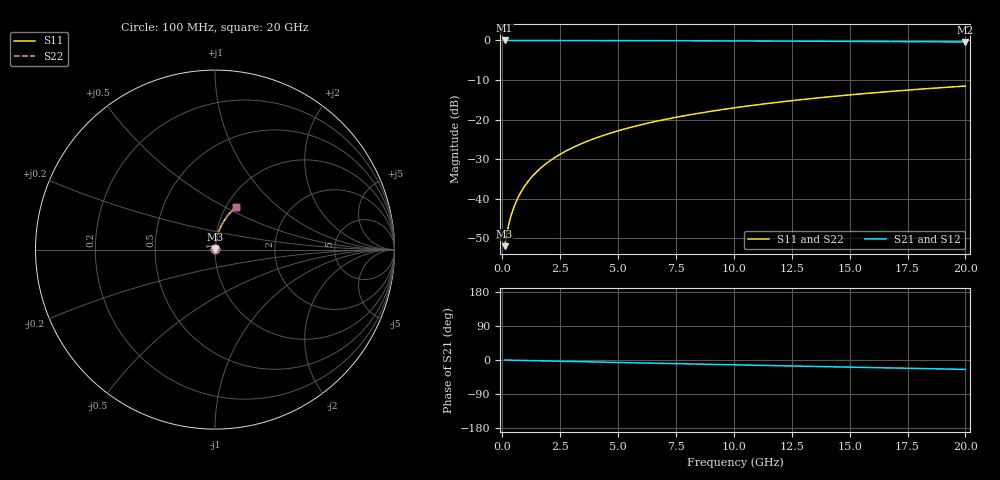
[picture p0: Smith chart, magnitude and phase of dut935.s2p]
! Touchstone file exported from HFSS 2026.1.0
!  File:  C:/ffzhzh/LocalFiles/Ansys_Project_Files/temp_train_TMRDL_935_1783158425_51560.aedt
!  Generated:  05:48:18 PM Jul  4, 2026
!  Design:  TMRDL
!  Project:  temp_train_TMRDL_935_1783158425_51560
! Variables:
!  h_bsmrdl = 2um
!  h_ox = 20um
!  h_rdl = 5um
!  h_sub = 80um
!  h_tmrdl = 3.86um
!  h_tsv = 80um
!  h_via = 3um
!  l_bsmrdl = 300um
!  l_sub = 718.84um
!  l_tmrdl = 318.84um
!  m_sub = 200um
!  pitch = 43um
!  r_tsv = 6um
!  s_tmrdl = 10um
!  w_bsmrdl = 18um
!  w_sub = 500um
!  w_tmrdl = 15.91um
!  x_tsv_center1 = 326.795um
!  x_tsv_center2 = 644.795um
!  x_tsv_center3 = 979.545um
!  x_tsv_center4 = 1297.545um
!  x_tsv_center5 = 1632.295um
!  x_tsv_center6 = 1950.295um
# GHz S MA R 50.000000
! Terminal data exported
! Port[1] = TM_RDL1_1_T1
! Port[2] = TM_RDL1_1_T2
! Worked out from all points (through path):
!   200 points, 100 MHz to 20 GHz, reference 50 ohm
!   highest |S21| = -0.02 dB at 100 MHz (marker M1); lowest = -0.4 dB at 20 GHz (marker M2)
!   group delay of S21, straight-line fit = 3.44 ps
!   lowest |S11| = -52.0 dB at 100 MHz (marker M3), VSWR 1.01, Z = 50.2 + j0.156 ohm
!   |S11| at or under -10 dB: start of sweep to end of sweep
!   |S22| runs from -52.0 to -11.5 dB; largest |S21 - S12| = 4.4e-15
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0.1  0.002525 37.9  0.998 -0.1  0.998 -0.1  0.002525 37.9
! Gamma 0 0 0 0
! Port Impedance 50 0 50 0
0.2  0.003701 56.2  0.9979 -0.3  0.9979 -0.3  0.003701 56.2
0.3  0.005047 64.9  0.9979 -0.4  0.9979 -0.4  0.005047 64.9
0.4  0.006437 69.7  0.9978 -0.5  0.9978 -0.5  0.006437 69.7
0.5  0.007841 72.8  0.9977 -0.7  0.9977 -0.7  0.007841 72.8
0.6  0.009253 75.0  0.9977 -0.8  0.9977 -0.8  0.009253 75.0
0.8  0.01209 77.8  0.9976 -1.1  0.9976 -1.1  0.01209 77.8
1.1  0.01639 80.1  0.9975 -1.4  0.9975 -1.4  0.01639 80.1
1.5  0.02214 81.6  0.9973 -2.0  0.9973 -2.0  0.02214 81.6
1.8  0.02647 82.1  0.9971 -2.3  0.9971 -2.3  0.02647 82.1
2.1  0.0308 82.4  0.9969 -2.7  0.9969 -2.7  0.0308 82.4
2.7  0.03944 82.4  0.9964 -3.5  0.9964 -3.5  0.03944 82.4
3.5  0.05092 82.0  0.9957 -4.5  0.9957 -4.5  0.05092 82.0
4.2  0.06089 81.4  0.9948 -5.4  0.9948 -5.4  0.06089 81.4
5  0.0722 80.7  0.9938 -6.5  0.9938 -6.5  0.0722 80.7
5.9  0.0848 79.7  0.9924 -7.6  0.9924 -7.6  0.0848 79.7
6.8  0.09728 78.7  0.9909 -8.7  0.9909 -8.7  0.09728 78.7
8.3  0.1178 77.0  0.9881 -10.6  0.9881 -10.6  0.1178 77.0
10.1  0.1419 74.9  0.9844 -12.9  0.9844 -12.9  0.1419 74.9
13.4  0.1849 71.1  0.9763 -16.9  0.9763 -16.9  0.1849 71.1
16.7  0.2261 67.3  0.967 -20.9  0.967 -20.9  0.2261 67.3
20  0.2653 63.6  0.9565 -24.8  0.9565 -24.8  0.2653 63.6
